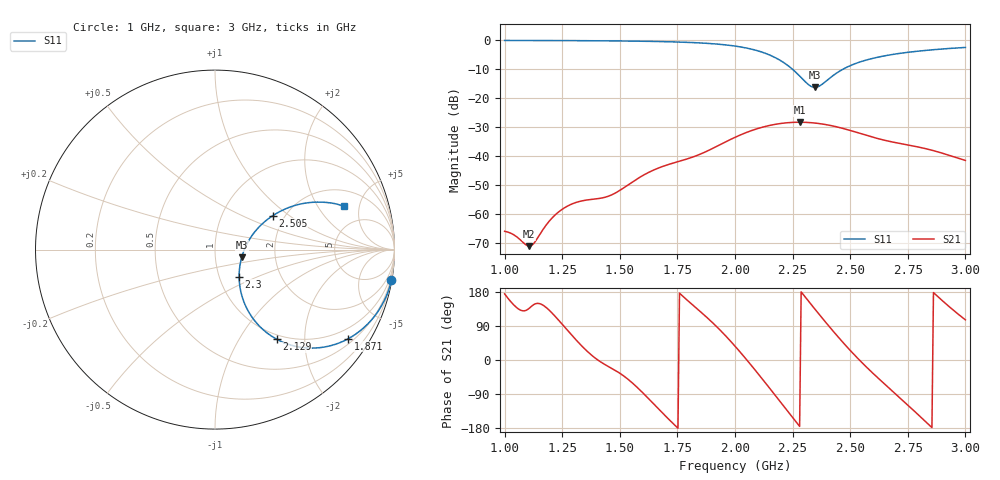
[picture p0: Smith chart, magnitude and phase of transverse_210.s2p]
! TOUCHSTONE file generated by CST MICROWAVE STUDIO
! Date and time: Tue Mar 11 13:57:46 2025
! Project name: transverse.cst
! Parameters = {Fracture=5; B=12.5; D=160; F=25; Feed=2.85625; L=100; M=20; R=0.384908; S=1; Theta=180; length=57.125; wave=114.25}
! Header version: 2024
! Port assignment regex: !\s*Touchstone port\s*([0-9]+)\s*=\s*(CST MWS port|CST DES external port|CST DES block port)\s*(.+)\s* \(\"(.*)\"\)(\s*mode\s*([0-9]+))?.*
! Touchstone port assignment:
! Touchstone port 1 = CST MWS port 1 ("")
! Touchstone port 2 = CST MWS port 2 ("")
# GHz S MA R 50
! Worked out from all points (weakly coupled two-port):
!   304 points, 1 GHz to 3 GHz, reference 50 ohm
!   highest |S21| = -28.21 dB at 2.281 GHz (marker M1); lowest = -70.9 dB at 1.106 GHz (marker M2)
!   lowest |S11| = -16.2 dB at 2.347 GHz (marker M3), VSWR 1.37, Z = 67.2 - j5.79 ohm
!   |S11| at or under -10 dB: 2.25 GHz to 2.467 GHz (217 MHz wide, 9.2 % of centre)
!   S12 and S22 are empty: the file has one direction only
!   S11 on the Smith chart (normalised r, x): 1 GHz: 0, -12; 1.871 GHz: 0.64, -3.18; 2.129 GHz: 0.93, -1.47; 2.3 GHz: 1.24, -0.39; 2.505 GHz: 1.74, +0.76; 3 GHz: 3.08, +3.48
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1  0.9976 -9.8  0.0005122 174.5  0 0.0  0 0.0
1.0396  0.9972 -10.3  0.0004465 145.4  0 0.0  0 0.0
1.10561  0.9963 -11.2  0.0002838 135.8  0 0.0  0 0.0
1.12541  0.996 -11.5  0.0003124 145.8  0 0.0  0 0.0
1.18482  0.9945 -12.5  0.0006924 136.3  0 0.0  0 0.0
1.23102  0.9931 -13.3  0.001077 107.4  0 0.0  0 0.0
1.28383  0.9913 -14.2  0.001464 70.8  0 0.0  0 0.0
1.33663  0.9892 -15.2  0.001716 36.0  0 0.0  0 0.0
1.46205  0.981 -18.0  0.002151 -21.1  0 0.0  0 0.0
1.66667  0.9569 -24.0  0.006285 -128.2  0 0.0  0 0.0
1.87129  0.8939 -33.7  0.01196 116.0  0 0.0  0 0.0
2.0033  0.7951 -43.5  0.02163 34.3  0 0.0  0 0.0
2.12871  0.6053 -55.5  0.03267 -57.9  0 0.0  0 0.0
2.20792  0.4234 -61.4  0.0374 -119.0  0 0.0  0 0.0
2.28053  0.2433 -55.5  0.03888 -175.2  0 0.0  0 0.0
2.30033  0.2023 -48.4  0.03875 169.6  0 0.0  0 0.0
2.33993  0.1558 -21.4  0.03786 139.5  0 0.0  0 0.0
2.34653  0.1547 -15.8  0.03763 134.5  0 0.0  0 0.0
2.50495  0.3738 30.4  0.02768 22.1  0 0.0  0 0.0
2.66997  0.5605 27.4  0.01819 -74.7  0 0.0  0 0.0
2.84158  0.6802 22.7  0.01319 -170.9  0 0.0  0 0.0
3  0.7557 18.7  0.008529 106.0  0 0.0  0 0.0
